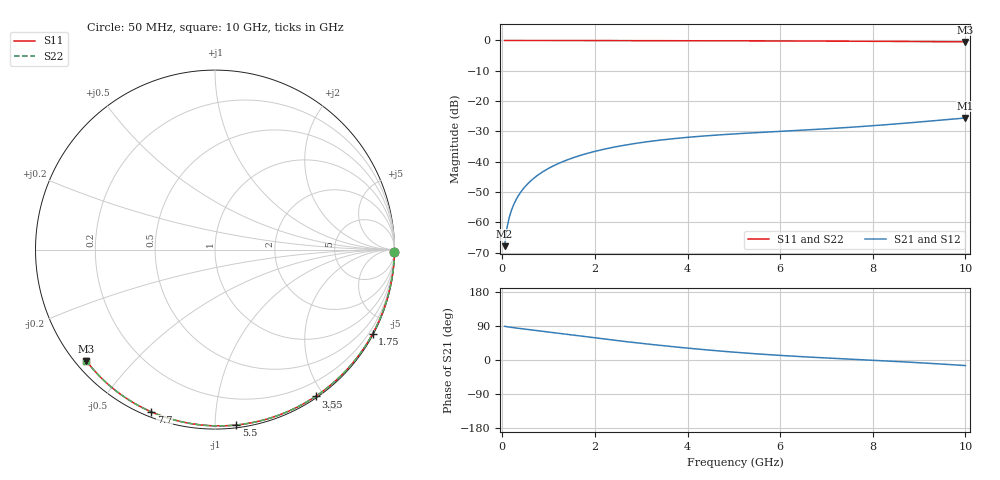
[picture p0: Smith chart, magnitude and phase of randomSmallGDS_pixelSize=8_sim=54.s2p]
! freq	dB(S11)	phase(S11)	dB(S12)	phase(S12)
!  dB(S21)	phase(S21)	dB(S22)	phase(S22)
!S-par simulation data
#  GHz  S  DB  R 50
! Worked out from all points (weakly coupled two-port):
!   200 points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, 50 MHz to 10 GHz, reference 50 ohm
!   highest |S21| = -25.58 dB at 10 GHz (marker M1); lowest = -67.9 dB at 50 MHz (marker M2)
!   lowest |S11| = -0.5 dB at 10 GHz (marker M3), VSWR 37.31, Z = 1.53 - j18.6 ohm
!   |S11| at or under -10 dB: nowhere
!   |S22| runs from -0.5 to 0.0 dB; largest |S21 - S12| = 0
!   S11 on the Smith chart (normalised r, x): 50 MHz: open; 1.75 GHz: 0.04, -3.99; 3.55 GHz: 0.02, -1.90; 5.5 GHz: 0.02, -1.13; 7.7 GHz: 0.02, -0.68; 10 GHz: 0.03, -0.37
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0.05  -0.00 -0.8  -67.89 88.9  -67.89 88.9  -0.00 -0.8
0.1  -0.00 -1.6  -61.90 87.8  -61.90 87.8  -0.00 -1.6
0.15  -0.00 -2.5  -58.41 86.9  -58.41 86.9  -0.00 -2.5
0.2  -0.00 -3.3  -55.95 86.0  -55.95 86.0  -0.00 -3.3
0.25  -0.00 -4.1  -54.04 85.2  -54.04 85.2  -0.00 -4.1
0.35  -0.00 -5.7  -51.16 83.7  -51.16 83.7  -0.00 -5.7
0.5  -0.01 -8.2  -48.10 81.4  -48.10 81.4  -0.01 -8.2
0.7  -0.01 -11.4  -45.23 78.3  -45.23 78.3  -0.01 -11.4
1  -0.02 -16.2  -42.21 73.6  -42.21 73.6  -0.02 -16.2
1.35  -0.03 -21.8  -39.72 68.1  -39.72 68.1  -0.03 -21.8
1.75  -0.04 -28.1  -37.64 62.0  -37.64 62.0  -0.04 -28.1
2.5  -0.05 -39.8  -34.95 50.9  -34.95 50.9  -0.05 -39.8
3.4  -0.07 -53.4  -32.91 38.7  -32.91 38.7  -0.07 -53.4
3.55  -0.08 -55.6  -32.65 36.8  -32.65 36.8  -0.08 -55.6
4.3  -0.10 -66.5  -31.59 27.9  -31.59 27.9  -0.10 -66.5
5.05  -0.12 -77.0  -30.80 20.2  -30.80 20.2  -0.12 -77.0
5.5  -0.14 -83.1  -30.41 16.2  -30.41 16.2  -0.14 -83.1
6.7  -0.19 -98.8  -29.42 7.2  -29.42 7.2  -0.19 -98.8
7.7  -0.25 -111.4  -28.47 1.1  -28.47 1.1  -0.25 -111.4
8.35  -0.30 -119.3  -27.73 -2.9  -27.73 -2.9  -0.30 -119.3
9.2  -0.38 -129.6  -26.66 -8.6  -26.66 -8.6  -0.38 -129.6
10  -0.47 -139.1  -25.58 -14.7  -25.58 -14.7  -0.47 -139.1
